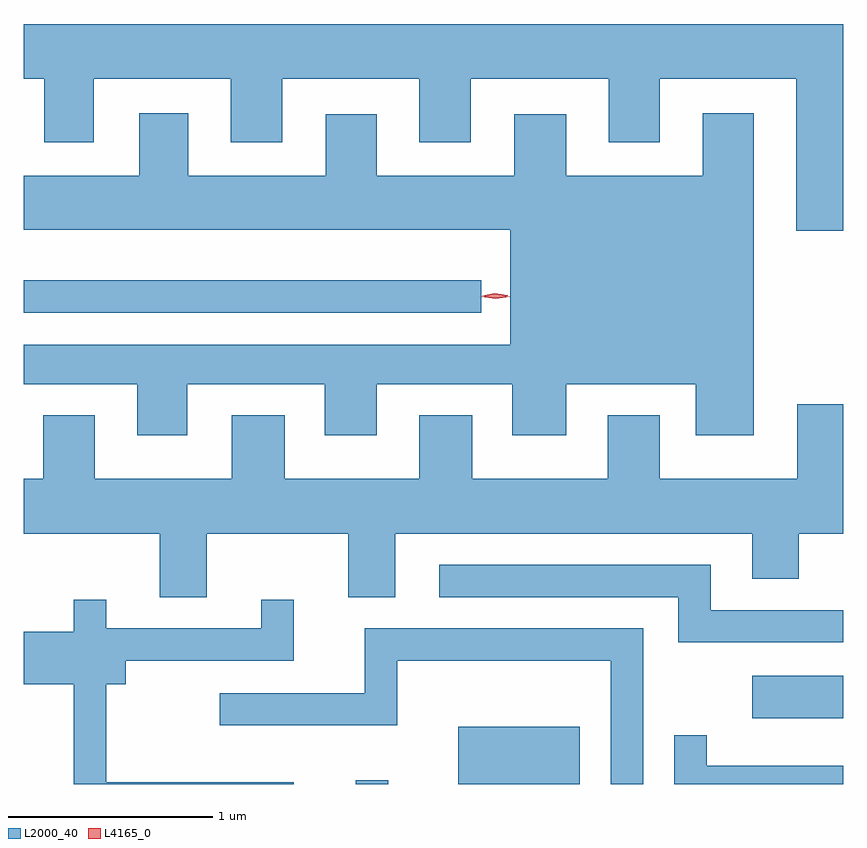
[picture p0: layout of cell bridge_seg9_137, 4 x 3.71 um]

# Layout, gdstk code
import gdstk
lib = gdstk.Library(unit=1e-6, precision=1e-09)
def R(c, l, rs):  # rectangles x0, y0, x1, y1
    for r in rs: c.add(gdstk.rectangle(r[:2], r[2:], *l))
def P(c, l, *ps):  # polygons
    for p in ps: c.add(gdstk.Polygon(p, *l))
L2000_40 = (2000, 40)
L4165_0 = (4165, 0)

bridge_seg9_137 = lib.new_cell('bridge_seg9_137')
R(bridge_seg9_137, L2000_40, [(1442.796,2061.635,1442.954,2061.653), (1443.296,2061.635,1443.889,2061.914), (1444.731,2061.956,1445.176,2062.164), (1441.176,2063.936,1443.408,2064.094)])
P(bridge_seg9_137, L2000_40, [(1441.176,2065.076),(1441.276,2065.076),(1441.276,2064.766),(1441.519,2064.766),(1441.519,2065.076),(1442.186,2065.076),(1442.186,2064.766),(1442.439,2064.766),(1442.439,2065.076),(1443.106,2065.076),(1443.106,2064.766),(1443.359,2064.766),(1443.359,2065.076),(1444.031,2065.076),(1444.031,2064.766),(1444.279,2064.766),(1444.279,2065.076),(1444.946,2065.076),(1444.946,2064.336),(1445.176,2064.336),(1445.176,2065.344),(1441.176,2065.344)],
  [(1441.974,2063.586),(1442.646,2063.586),(1442.646,2063.336),(1442.899,2063.336),(1442.899,2063.586),(1443.561,2063.586),(1443.561,2063.336),(1443.824,2063.336),(1443.824,2063.586),(1444.456,2063.586),(1444.456,2063.336),(1444.739,2063.336),(1444.739,2064.909),(1444.491,2064.909),(1444.491,2064.604),(1443.824,2064.604),(1443.824,2064.904),(1443.571,2064.904),(1443.571,2064.604),(1442.899,2064.604),(1442.899,2064.904),(1442.651,2064.904),(1442.651,2064.604),(1441.979,2064.604),(1441.979,2064.909),(1441.741,2064.909),(1441.741,2064.604),(1441.176,2064.604),(1441.176,2064.341),(1443.551,2064.341),(1443.551,2063.779),(1441.176,2063.779),(1441.176,2063.586),(1441.731,2063.586),(1441.731,2063.336),(1441.974,2063.336)],
  [(1444.731,2062.636),(1444.959,2062.636),(1444.959,2062.856),(1445.176,2062.856),(1445.176,2063.489),(1444.951,2063.489),(1444.951,2063.124),(1444.279,2063.124),(1444.279,2063.434),(1444.026,2063.434),(1444.026,2063.124),(1443.364,2063.124),(1443.364,2063.434),(1443.106,2063.434),(1443.106,2063.124),(1442.449,2063.124),(1442.449,2063.434),(1442.191,2063.434),(1442.191,2063.124),(1441.524,2063.124),(1441.524,2063.434),(1441.271,2063.434),(1441.271,2063.124),(1441.176,2063.124),(1441.176,2062.856),(1441.841,2062.856),(1441.841,2062.546),(1442.069,2062.546),(1442.069,2062.856),(1442.761,2062.856),(1442.761,2062.546),(1442.989,2062.546),(1442.989,2062.856),(1444.731,2062.856)],
  [(1445.176,2062.484),(1444.529,2062.484),(1444.529,2062.704),(1443.203,2062.704),(1443.203,2062.546),(1444.371,2062.546),(1444.371,2062.326),(1445.176,2062.326)],
  [(1442.494,2061.644),(1441.579,2061.644),(1441.579,2062.121),(1441.674,2062.121),(1441.674,2062.236),(1442.494,2062.236),(1442.494,2062.533),(1442.336,2062.533),(1442.336,2062.394),(1441.579,2062.394),(1441.579,2062.533),(1441.421,2062.533),(1441.421,2062.379),(1441.176,2062.379),(1441.176,2062.121),(1441.421,2062.121),(1441.421,2061.635),(1442.494,2061.635)],
  [(1444.199,2062.394),(1442.841,2062.394),(1442.841,2062.079),(1442.133,2062.079),(1442.133,2061.921),(1442.999,2061.921),(1442.999,2062.236),(1444.041,2062.236),(1444.041,2061.635),(1444.199,2061.635)],
  [(1445.176,2061.724),(1444.509,2061.724),(1444.509,2061.873),(1444.351,2061.873),(1444.351,2061.635),(1445.176,2061.635)])
P(bridge_seg9_137, L4165_0, [(1443.479,2064.003),(1443.41,2064.012),(1443.409,2064.013),(1443.41,2064.013),(1443.479,2064.023),(1443.547,2064.013),(1443.548,2064.013),(1443.547,2064.012)],
  [(1443.475,2064.009),(1443.414,2064.018),(1443.413,2064.019),(1443.414,2064.019),(1443.475,2064.029),(1443.538,2064.02),(1443.538,2064.019),(1443.538,2064.019)])

lib.write_gds('bridge_seg9_137.gds')
